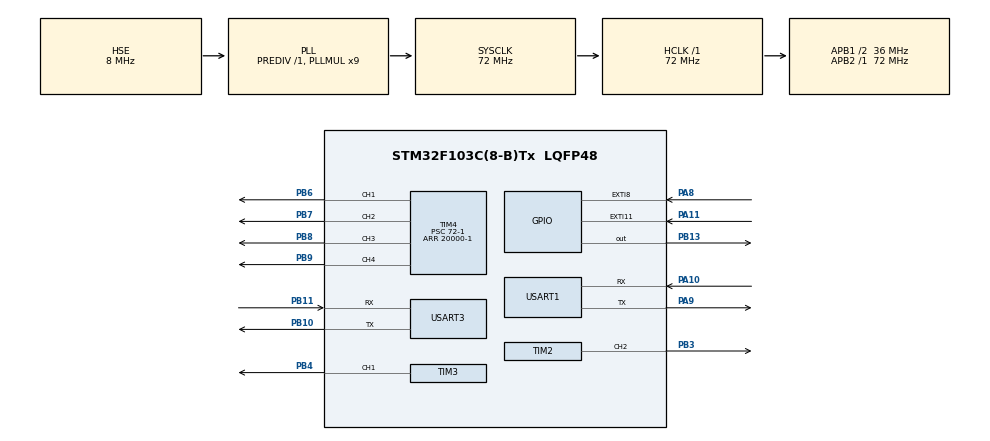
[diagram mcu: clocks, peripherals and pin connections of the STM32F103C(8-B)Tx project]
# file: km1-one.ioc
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Dma.Request0=USART1_RX
Dma.Request1=USART1_TX
Dma.Request2=USART3_RX
Dma.Request3=USART3_TX
Dma.USART1_RX.0.Direction=DMA_PERIPH_TO_MEMORY
Dma.USART1_RX.0.Instance=DMA1_Channel5
Dma.USART1_RX.0.MemDataAlignment=DMA_MDATAALIGN_BYTE
Dma.USART1_RX.0.MemInc=DMA_MINC_ENABLE
Dma.USART1_RX.0.Mode=DMA_CIRCULAR
Dma.USART1_RX.0.PeriphDataAlignment=DMA_PDATAALIGN_BYTE
Dma.USART1_RX.0.PeriphInc=DMA_PINC_DISABLE
Dma.USART1_RX.0.Priority=DMA_PRIORITY_HIGH
Dma.USART1_TX.1.Direction=DMA_MEMORY_TO_PERIPH
Dma.USART1_TX.1.Instance=DMA1_Channel4
Dma.USART1_TX.1.MemDataAlignment=DMA_MDATAALIGN_BYTE
Dma.USART1_TX.1.MemInc=DMA_MINC_ENABLE
Dma.USART1_TX.1.Mode=DMA_NORMAL
Dma.USART1_TX.1.PeriphDataAlignment=DMA_PDATAALIGN_BYTE
Dma.USART1_TX.1.PeriphInc=DMA_PINC_DISABLE
Dma.USART1_TX.1.Priority=DMA_PRIORITY_HIGH
Dma.USART3_RX.2.Direction=DMA_PERIPH_TO_MEMORY
Dma.USART3_RX.2.Instance=DMA1_Channel3
Dma.USART3_RX.2.MemDataAlignment=DMA_MDATAALIGN_BYTE
Dma.USART3_RX.2.MemInc=DMA_MINC_ENABLE
Dma.USART3_RX.2.Mode=DMA_CIRCULAR
Dma.USART3_RX.2.PeriphDataAlignment=DMA_PDATAALIGN_BYTE
Dma.USART3_RX.2.PeriphInc=DMA_PINC_DISABLE
Dma.USART3_RX.2.Priority=DMA_PRIORITY_VERY_HIGH
Dma.USART3_TX.3.Direction=DMA_MEMORY_TO_PERIPH
Dma.USART3_TX.3.Instance=DMA1_Channel2
Dma.USART3_TX.3.MemDataAlignment=DMA_MDATAALIGN_BYTE
Dma.USART3_TX.3.MemInc=DMA_MINC_ENABLE
Dma.USART3_TX.3.Mode=DMA_NORMAL
Dma.USART3_TX.3.PeriphDataAlignment=DMA_PDATAALIGN_BYTE
Dma.USART3_TX.3.PeriphInc=DMA_PINC_DISABLE
Dma.USART3_TX.3.Priority=DMA_PRIORITY_VERY_HIGH
Mcu.Family=STM32F1
Mcu.Name=STM32F103C(8-B)Tx
Mcu.Package=LQFP48
NVIC.DMA1_Channel2_IRQn=true\:0\:0\:false\:false\:true\:false\:true\:true
NVIC.DMA1_Channel3_IRQn=true\:0\:0\:false\:false\:true\:false\:true\:true
NVIC.DMA1_Channel4_IRQn=true\:0\:0\:false\:false\:true\:false\:true\:true
NVIC.DMA1_Channel5_IRQn=true\:0\:0\:false\:false\:true\:false\:true\:true
NVIC.EXTI15_10_IRQn=true\:0\:0\:false\:false\:true\:true\:true\:true
NVIC.EXTI9_5_IRQn=true\:0\:0\:false\:false\:true\:true\:true\:true
NVIC.PriorityGroup=NVIC_PRIORITYGROUP_4
NVIC.TIM1_UP_IRQn=true\:0\:0\:false\:false\:true\:true\:true\:true
NVIC.USART1_IRQn=true\:0\:0\:false\:false\:true\:true\:true\:true
NVIC.USART3_IRQn=true\:0\:0\:false\:false\:true\:true\:true\:true
PA10.Mode=Asynchronous
PA10.Signal=USART1_RX
PA11.GPIO_PuPd=GPIO_PULLUP
PA11.Signal=GPXTI11
PA8.GPIO_PuPd=GPIO_PULLUP
PA8.Signal=GPXTI8
PA9.Mode=Asynchronous
PA9.Signal=USART1_TX
PB10.Mode=Asynchronous
PB10.Signal=USART3_TX
PB11.Mode=Asynchronous
PB11.Signal=USART3_RX
PB13.Signal=GPIO_Output
PB3.Signal=S_TIM2_CH2
PB4.Signal=S_TIM3_CH1
PB6.Signal=S_TIM4_CH1
PB7.Signal=S_TIM4_CH2
PB8.Signal=S_TIM4_CH3
PB9.Signal=S_TIM4_CH4
PD0-OSC_IN.Mode=HSE-External-Oscillator
PD0-OSC_IN.Signal=RCC_OSC_IN
PD1-OSC_OUT.Mode=HSE-External-Oscillator
PD1-OSC_OUT.Signal=RCC_OSC_OUT
ProjectManager.HeapSize=0x400
ProjectManager.StackSize=0x1000
ProjectManager.TargetToolchain=CMake
RCC.AHBFreq_Value=72000000
RCC.APB1CLKDivider=RCC_HCLK_DIV2
RCC.APB1Freq_Value=36000000
RCC.APB1TimFreq_Value=72000000
RCC.APB2Freq_Value=72000000
RCC.APB2TimFreq_Value=72000000
RCC.HCLKFreq_Value=72000000
RCC.PLLMUL=RCC_PLL_MUL9
RCC.PLLSourceVirtual=RCC_PLLSOURCE_HSE
RCC.SYSCLKFreq_VALUE=72000000
RCC.SYSCLKSource=RCC_SYSCLKSOURCE_PLLCLK
RCC.USBFreq_Value=72000000
SH.S_TIM2_CH2.0=TIM2_CH2,PWM Generation2 CH2
SH.S_TIM3_CH1.0=TIM3_CH1,PWM Generation1 CH1
SH.S_TIM4_CH1.0=TIM4_CH1,PWM Generation1 CH1
SH.S_TIM4_CH2.0=TIM4_CH2,PWM Generation2 CH2
SH.S_TIM4_CH3.0=TIM4_CH3,PWM Generation3 CH3
SH.S_TIM4_CH4.0=TIM4_CH4,PWM Generation4 CH4
TIM1.Period=10-1
TIM1.Prescaler=7200-1
TIM2.AutoReloadPreload=TIM_AUTORELOAD_PRELOAD_ENABLE
TIM2.Channel-PWM\ Generation2\ CH2=TIM_CHANNEL_2
TIM2.Period=20000-1
TIM2.Prescaler=72-1
TIM2.Pulse-PWM\ Generation2\ CH2=0
TIM3.AutoReloadPreload=TIM_AUTORELOAD_PRELOAD_ENABLE
TIM3.Channel-PWM\ Generation1\ CH1=TIM_CHANNEL_1
TIM3.Period=20000-1
TIM3.Prescaler=72-1
TIM3.Pulse-PWM\ Generation1\ CH1=0
TIM4.AutoReloadPreload=TIM_AUTORELOAD_PRELOAD_ENABLE
TIM4.Channel-PWM\ Generation1\ CH1=TIM_CHANNEL_1
TIM4.Channel-PWM\ Generation2\ CH2=TIM_CHANNEL_2
TIM4.Channel-PWM\ Generation3\ CH3=TIM_CHANNEL_3
TIM4.Channel-PWM\ Generation4\ CH4=TIM_CHANNEL_4
TIM4.Period=20000-1
TIM4.Prescaler=72-1
TIM4.Pulse-PWM\ Generation1\ CH1=0
TIM4.Pulse-PWM\ Generation2\ CH2=0
TIM4.Pulse-PWM\ Generation3\ CH3=0
TIM4.Pulse-PWM\ Generation4\ CH4=0
USART1.VirtualMode=VM_ASYNC
USART3.VirtualMode=VM_ASYNC
VP_SYS_VS_ND.Mode=No_Debug
VP_TIM1_VS_ClockSourceINT.Mode=Internal
board=custom

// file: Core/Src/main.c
/* USER CODE BEGIN Header */
/**
 ******************************************************************************
 * @file           : main.c
 * @brief          : Main program body
 ******************************************************************************
 * @attention
 *
 * Copyright (c) 2025 STMicroelectronics.
 * All rights reserved.
 *
 * This software is licensed under terms that can be found in the LICENSE file
 * in the root directory of this software component.
 * If no LICENSE file comes with this software, it is provided AS-IS.
 *
 ******************************************************************************
 */
/* USER CODE END Header */
#include "main.h"

#include "dma.h"
#include "gpio.h"
#include "tim.h"
#include "usart.h"

/* USER CODE BEGIN Includes */
#include <stdio.h>
#include <stdlib.h>
#include <string.h>

#include "motion_cycle.h"
#include "motion_engine.h"
#include "motion_sync.h"
#include "protocol.h"
#include "servo_hal.h"
#include "tf_uart_port.h"
#include "uart_driver.h"

/* USER CODE END Includes */

/* USER CODE BEGIN PV */

volatile uint8_t button1_flag     = 0;
volatile uint8_t button2_flag     = 0;
uint32_t         last_press_time1 = 0;
uint32_t         last_press_time2 = 0;

/* USER CODE END PV */

void SystemClock_Config(void);

/* USER CODE BEGIN 0 */

int32_t idx1, idx2;

#define TEST_CYCLE_1 0

#if TEST_CYCLE_1
static const uint8_t  servo_ids[] = {1, 2, 3};
static const uint32_t pose_a[]    = {810, 1850, 1230};
static const uint32_t pose_b[]    = {1180, 1970, 1000};

static uint32_t*      poses[]     = {pose_a, pose_b};
static const uint32_t durations[] = {1500, 1500};

void start_pose_loop(void)
{
    // 创建配置结构
    motion_cycle_config_t config1 = {
        .servo_ids     = servo_ids,
        .servo_count   = 3,
        .pose_list_pwm = poses,  // PWM模式
        .pose_duration = durations,
        .pose_count    = 2,
        .max_loops     = 0,    // 0表示无限循环
        .mode          = 0,    // PWM模式
        .user_data     = NULL  // 测试程序不需要额外数据
    };

    idx1 = motion_cycle_create(&config1, NULL);

    if (idx1 >= 0) {
        motion_cycle_start(idx1);
        printf("Test cycle 1 started, index=%d\n", idx1);
    } else {
        printf("Failed to create test cycle 1\n");
    }
}

static const uint8_t  servo_ids1[] = {4};
static const uint32_t pose_a1[]    = {500};
static const uint32_t pose_b1[]    = {2500};

static uint32_t*      poses1[]     = {pose_a1, pose_b1};
static const uint32_t durations1[] = {4000, 4000};

void start_pose_loop1(void)
{
    // 创建配置结构
    motion_cycle_config_t config2 = {
        .servo_ids     = servo_ids1,
        .servo_count   = 1,
        .pose_list_pwm = poses1,  // PWM模式
        .pose_duration = durations1,
        .pose_count    = 2,
        .max_loops     = 0,    // 0表示无限循环
        .mode          = 0,    // PWM模式
        .user_data     = NULL  // 测试程序不需要额外数据
    };

    idx2 = motion_cycle_create(&config2, NULL);

    if (idx2 >= 0) {
        motion_cycle_start(idx2);
        printf("Test cycle 2 started, index=%d\n", idx2);
    } else {
        printf("Failed to create test cycle 2\n");
    }
}
#endif
/* USER CODE END 0 */

int main(void)
{

    /* MCU Configuration--------------------------------------------------------*/

    /* Reset of all peripherals, Initializes the Flash interface and the Systick. */
    HAL_Init();

    /* Configure the system clock */
    SystemClock_Config();

    /* Initialize all configured peripherals */
    MX_GPIO_Init();
    MX_DMA_Init();
    MX_TIM1_Init();
    MX_TIM2_Init();
    MX_TIM3_Init();
    MX_TIM4_Init();
    MX_USART1_UART_Init();
    MX_USART3_UART_Init();
    /* USER CODE BEGIN 2 */
    HAL_TIM_Base_Start_IT(&htim1);  // 启动带中断的定时�?

    servo_hal_init();
    servo_motion_init();
    motion_sync_init();
    tf_uart_port_init(NULL);
    protocol_init();
#if TEST_CYCLE_1
    servo_hal_set_pwm(0, 1500);
    start_pose_loop();
    start_pose_loop1();
#endif
    /* USER CODE END 2 */

    /* Infinite loop */
    /* USER CODE BEGIN WHILE */
    while (1) {
        tf_uart_port_poll();
        /* USER CODE END WHILE */

    }
}

void SystemClock_Config(void)
{
    RCC_OscInitTypeDef RCC_OscInitStruct = {0};
    RCC_ClkInitTypeDef RCC_ClkInitStruct = {0};

    /** Initializes the RCC Oscillators according to the specified parameters
     * in the RCC_OscInitTypeDef structure.
     */
    RCC_OscInitStruct.OscillatorType = RCC_OSCILLATORTYPE_HSE;
    RCC_OscInitStruct.HSEState       = RCC_HSE_ON;
    RCC_OscInitStruct.HSEPredivValue = RCC_HSE_PREDIV_DIV1;
    RCC_OscInitStruct.HSIState       = RCC_HSI_ON;
    RCC_OscInitStruct.PLL.PLLState   = RCC_PLL_ON;
    RCC_OscInitStruct.PLL.PLLSource  = RCC_PLLSOURCE_HSE;
    RCC_OscInitStruct.PLL.PLLMUL     = RCC_PLL_MUL9;
    if (HAL_RCC_OscConfig(&RCC_OscInitStruct) != HAL_OK) {
        Error_Handler();
    }

    /** Initializes the CPU, AHB and APB buses clocks
     */
    RCC_ClkInitStruct.ClockType =
        RCC_CLOCKTYPE_HCLK | RCC_CLOCKTYPE_SYSCLK | RCC_CLOCKTYPE_PCLK1 | RCC_CLOCKTYPE_PCLK2;
    RCC_ClkInitStruct.SYSCLKSource   = RCC_SYSCLKSOURCE_PLLCLK;
    RCC_ClkInitStruct.AHBCLKDivider  = RCC_SYSCLK_DIV1;
    RCC_ClkInitStruct.APB1CLKDivider = RCC_HCLK_DIV2;
    RCC_ClkInitStruct.APB2CLKDivider = RCC_HCLK_DIV1;

    if (HAL_RCC_ClockConfig(&RCC_ClkInitStruct, FLASH_LATENCY_2) != HAL_OK) {
        Error_Handler();
    }
}

/* USER CODE BEGIN 4 */

// 中断回调

// 串口发�?�完成中�?
void HAL_UART_TxCpltCallback(UART_HandleTypeDef* huart)
{
    if (huart->Instance == USART3) {
        uart_driver_tx_complete_callback();
    }
}

// 用作系统时钟 1ms 触发�?�?
void HAL_TIM_PeriodElapsedCallback(TIM_HandleTypeDef* htim)
{
    if (htim->Instance == TIM1) {
        servo_motion_update_1ms();
        tf_uart_port_tick_1ms();
    }
}

// 按键中断
void HAL_GPIO_EXTI_Callback(uint16_t GPIO_Pin)
{
    uint32_t now = HAL_GetTick();

    if (GPIO_Pin == GPIO_PIN_8) {
        if (now - last_press_time1 > 50) {
            last_press_time1 = now;
            button1_flag     = 1;
            motion_cycle_release(idx1);
            motion_cycle_release(idx2);
            uart_driver_send("send with block\n", 17);
        }
    } else if (GPIO_Pin == GPIO_PIN_11) {
        if (now - last_press_time2 > 50) {
            last_press_time2 = now;
            button2_flag     = 1;
            motion_cycle_release(idx2);
            motion_cycle_release(idx1);
            uart_driver_send_async("send with unblock\n", 19);
        }
    }
}
/* USER CODE END 4 */

void Error_Handler(void)
{
    __disable_irq();
    while (1) {}
}

#ifdef USE_FULL_ASSERT
/**
 * @brief  Reports the name of the source file and the source line number
 *         where the assert_param error has occurred.
 * @param  file: pointer to the source file name
 * @param  line: assert_param error line source number
 * @retval None
 */
void assert_failed(uint8_t* file, uint32_t line)
{
    /* USER CODE BEGIN 6 */
    /* User can add his own implementation to report the file name and line
       number, ex: printf("Wrong parameters value: file %s on line %d\r\n", file,
       line) */
    /* USER CODE END 6 */
}
#endif /* USE_FULL_ASSERT */
